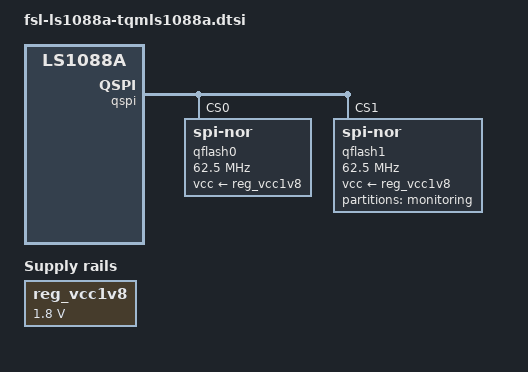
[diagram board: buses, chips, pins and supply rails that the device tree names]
// SPDX-License-Identifier: (GPL-2.0-or-later OR MIT)
/*
 * Copyright (c) 2018-2023 TQ-Systems GmbH <linux@ew.tq-group.com>,
 * D-82229 Seefeld, Germany.
 * Author: Gregor Herburger, Timo Herbrecher
 *
 * Device Tree Include file for LS1088A based SoM of TQ
 */

#include "fsl-ls1088a.dtsi"
#include "tqmls10xxa.dtsi"

/ {
	reg_vcc1v8: regulator-vcc1v8 {
		compatible = "regulator-fixed";
		regulator-name = "VCC1V8";
		regulator-min-microvolt = <1800000>;
		regulator-max-microvolt = <1800000>;
		regulator-always-on;
	};
};

&qspi {
	bus-num = <0>;
	num-cs = <2>;
	status = "okay";

	qflash0: flash@0 {
		compatible = "jedec,spi-nor";
		reg = <0>;
		#address-cells = <1>;
		#size-cells = <1>;
		spi-max-frequency = <62500000>;
		spi-rx-bus-width = <4>;
		spi-tx-bus-width = <4>;
		vcc-supply = <&reg_vcc1v8>;

		partitions {
			compatible = "fixed-partitions";
			#address-cells = <1>;
			#size-cells = <1>;
		};
	};

	qflash1: flash@1 {
		compatible = "jedec,spi-nor";
		reg = <1>;
		#address-cells = <1>;
		#size-cells = <1>;
		spi-max-frequency = <62500000>;
		spi-rx-bus-width = <4>;
		spi-tx-bus-width = <4>;
		vcc-supply = <&reg_vcc1v8>;

		partitions {
			compatible = "fixed-partitions";
			#address-cells = <1>;
			#size-cells = <1>;

			monitor@00000000 {
				label = "monitoring";
				reg = <0x00000000 0x04000000>;
			};
		};
	};
};
